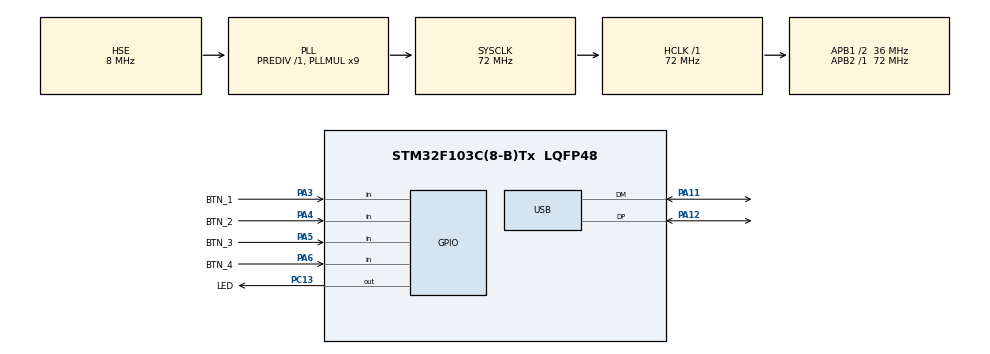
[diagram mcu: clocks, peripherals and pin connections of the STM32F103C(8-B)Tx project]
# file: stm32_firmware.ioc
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Mcu.Family=STM32F1
Mcu.Name=STM32F103C(8-B)Tx
Mcu.Package=LQFP48
NVIC.PriorityGroup=NVIC_PRIORITYGROUP_4
NVIC.USB_LP_CAN1_RX0_IRQn=true\:0\:0\:false\:false\:true\:false\:true\:true
PA11.Mode=Device
PA11.Signal=USB_DM
PA12.Mode=Device
PA12.Signal=USB_DP
PA13.Mode=Serial_Wire
PA13.Signal=SYS_JTMS-SWDIO
PA14.Mode=Serial_Wire
PA14.Signal=SYS_JTCK-SWCLK
PA3.GPIO_Label=BTN_1
PA3.Signal=GPIO_Input
PA4.GPIO_Label=BTN_2
PA4.Signal=GPIO_Input
PA5.GPIO_Label=BTN_3
PA5.Signal=GPIO_Input
PA6.GPIO_Label=BTN_4
PA6.Signal=GPIO_Input
PC13-TAMPER-RTC.GPIO_Label=LED
PC13-TAMPER-RTC.Signal=GPIO_Output
PD0-OSC_IN.Mode=HSE-External-Oscillator
PD0-OSC_IN.Signal=RCC_OSC_IN
PD1-OSC_OUT.Mode=HSE-External-Oscillator
PD1-OSC_OUT.Signal=RCC_OSC_OUT
ProjectManager.HeapSize=0x200
ProjectManager.StackSize=0x400
ProjectManager.TargetToolchain=Makefile
RCC.AHBFreq_Value=72000000
RCC.APB1CLKDivider=RCC_HCLK_DIV2
RCC.APB1Freq_Value=36000000
RCC.APB1TimFreq_Value=72000000
RCC.APB2Freq_Value=72000000
RCC.APB2TimFreq_Value=72000000
RCC.HCLKFreq_Value=72000000
RCC.PLLMUL=RCC_PLL_MUL9
RCC.PLLSourceVirtual=RCC_PLLSOURCE_HSE
RCC.SYSCLKFreq_VALUE=72000000
RCC.SYSCLKSource=RCC_SYSCLKSOURCE_PLLCLK
RCC.USBFreq_Value=48000000
RCC.USBPrescaler=RCC_USBCLKSOURCE_PLL_DIV1_5
USB_DEVICE.CLASS_NAME_FS=HID
USB_DEVICE.VirtualMode=Hid
USB_DEVICE.VirtualModeFS=Hid_FS
VP_USB_DEVICE_VS_USB_DEVICE_HID_FS.Mode=HID_FS
board=custom

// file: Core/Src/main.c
/* USER CODE BEGIN Header */
/**
 ******************************************************************************
 * @file           : main.c
 * @brief          : Main program body
 ******************************************************************************
 * @attention
 *
 * Copyright (c) 2023 STMicroelectronics.
 * All rights reserved.
 *
 * This software is licensed under terms that can be found in the LICENSE file
 * in the root directory of this software component.
 * If no LICENSE file comes with this software, it is provided AS-IS.
 *
 ******************************************************************************
 */
/* USER CODE END Header */
#include "main.h"
#include "usb_device.h"

/* USER CODE BEGIN Includes */
#include "usb_hid_keyboard.h"

/* USER CODE END Includes */

void SystemClock_Config(void);
static void MX_GPIO_Init(void);

int main(void)
{

        /* MCU Configuration--------------------------------------------------------*/

        /* Reset of all peripherals, Initializes the Flash interface and the Systick. */
        HAL_Init();

        /* Configure the system clock */
        SystemClock_Config();

        /* Initialize all configured peripherals */
        MX_GPIO_Init();
        MX_USB_DEVICE_Init();
        /* USER CODE BEGIN 2 */
        uint8_t led_on=0;
        uint8_t btn_state[4]={0};

        /* USER CODE END 2 */

        /* Infinite loop */
        while (1)
        {

                /* USER CODE BEGIN 3 */
                led_on=0;
                if(HAL_GPIO_ReadPin(BTN_1_GPIO_Port,BTN_1_Pin)==GPIO_PIN_RESET && btn_state[0]==0)
                {
                        USB_Keyboard_SendString("delete ");
                        btn_state[0]=1;
                        led_on=1;
                }
                if(HAL_GPIO_ReadPin(BTN_1_GPIO_Port,BTN_1_Pin)==GPIO_PIN_SET && btn_state[0]==1)
                        btn_state[0]=0;

                if(HAL_GPIO_ReadPin(BTN_2_GPIO_Port,BTN_2_Pin)==GPIO_PIN_RESET && btn_state[1]==0)
                {
                        USB_Keyboard_SendString("mrg ");
                        btn_state[1]=1;
                        led_on=1;
                }
                if(HAL_GPIO_ReadPin(BTN_2_GPIO_Port,BTN_2_Pin)==GPIO_PIN_SET && btn_state[1]==1)
                        btn_state[1]=0;

                if(HAL_GPIO_ReadPin(BTN_3_GPIO_Port,BTN_3_Pin)==GPIO_PIN_RESET && btn_state[2]==0)
                {
                        USB_Keyboard_SendString("in to master asap");
                        btn_state[2]=1;
                        led_on=1;
                }
                if(HAL_GPIO_ReadPin(BTN_3_GPIO_Port,BTN_3_Pin)==GPIO_PIN_SET && btn_state[2]==1)
                        btn_state[2]=0;

                if(HAL_GPIO_ReadPin(BTN_4_GPIO_Port,BTN_4_Pin)==GPIO_PIN_RESET && btn_state[3]==0)
                {
                        USB_Keyboard_SendString("plz ");
                        btn_state[3]=1;
                        led_on=1;
                }
                if(HAL_GPIO_ReadPin(BTN_4_GPIO_Port,BTN_4_Pin)==GPIO_PIN_SET && btn_state[3]==1)
                        btn_state[3]=0;

                if(led_on)
                {

                        HAL_GPIO_WritePin(LED_GPIO_Port,LED_Pin,GPIO_PIN_RESET);
                }
                else
                        HAL_GPIO_WritePin(LED_GPIO_Port,LED_Pin,GPIO_PIN_SET);
        }
        /* USER CODE END 3 */
}

void SystemClock_Config(void)
{
        RCC_OscInitTypeDef RCC_OscInitStruct = {0};
        RCC_ClkInitTypeDef RCC_ClkInitStruct = {0};
        RCC_PeriphCLKInitTypeDef PeriphClkInit = {0};

        /** Initializes the RCC Oscillators according to the specified parameters
         * in the RCC_OscInitTypeDef structure.
         */
        RCC_OscInitStruct.OscillatorType = RCC_OSCILLATORTYPE_HSE;
        RCC_OscInitStruct.HSEState = RCC_HSE_ON;
        RCC_OscInitStruct.HSEPredivValue = RCC_HSE_PREDIV_DIV1;
        RCC_OscInitStruct.HSIState = RCC_HSI_ON;
        RCC_OscInitStruct.PLL.PLLState = RCC_PLL_ON;
        RCC_OscInitStruct.PLL.PLLSource = RCC_PLLSOURCE_HSE;
        RCC_OscInitStruct.PLL.PLLMUL = RCC_PLL_MUL9;
        if (HAL_RCC_OscConfig(&RCC_OscInitStruct) != HAL_OK)
        {
                Error_Handler();
        }

        /** Initializes the CPU, AHB and APB buses clocks
        */
        RCC_ClkInitStruct.ClockType = RCC_CLOCKTYPE_HCLK|RCC_CLOCKTYPE_SYSCLK
                |RCC_CLOCKTYPE_PCLK1|RCC_CLOCKTYPE_PCLK2;
        RCC_ClkInitStruct.SYSCLKSource = RCC_SYSCLKSOURCE_PLLCLK;
        RCC_ClkInitStruct.AHBCLKDivider = RCC_SYSCLK_DIV1;
        RCC_ClkInitStruct.APB1CLKDivider = RCC_HCLK_DIV2;
        RCC_ClkInitStruct.APB2CLKDivider = RCC_HCLK_DIV1;

        if (HAL_RCC_ClockConfig(&RCC_ClkInitStruct, FLASH_LATENCY_2) != HAL_OK)
        {
                Error_Handler();
        }
        PeriphClkInit.PeriphClockSelection = RCC_PERIPHCLK_USB;
        PeriphClkInit.UsbClockSelection = RCC_USBCLKSOURCE_PLL_DIV1_5;
        if (HAL_RCCEx_PeriphCLKConfig(&PeriphClkInit) != HAL_OK)
        {
                Error_Handler();
        }
}

static void MX_GPIO_Init(void)
{
        GPIO_InitTypeDef GPIO_InitStruct = {0};

        /* GPIO Ports Clock Enable */
        __HAL_RCC_GPIOC_CLK_ENABLE();
        __HAL_RCC_GPIOD_CLK_ENABLE();
        __HAL_RCC_GPIOA_CLK_ENABLE();

        /*Configure GPIO pin Output Level */
        HAL_GPIO_WritePin(LED_GPIO_Port, LED_Pin, GPIO_PIN_RESET);

        /*Configure GPIO pin : LED_Pin */
        GPIO_InitStruct.Pin = LED_Pin;
        GPIO_InitStruct.Mode = GPIO_MODE_OUTPUT_PP;
        GPIO_InitStruct.Pull = GPIO_NOPULL;
        GPIO_InitStruct.Speed = GPIO_SPEED_FREQ_LOW;
        HAL_GPIO_Init(LED_GPIO_Port, &GPIO_InitStruct);

        /*Configure GPIO pins : BTN_1_Pin BTN_2_Pin BTN_3_Pin BTN_4_Pin */
        GPIO_InitStruct.Pin = BTN_1_Pin|BTN_2_Pin|BTN_3_Pin|BTN_4_Pin;
        GPIO_InitStruct.Mode = GPIO_MODE_INPUT;
        GPIO_InitStruct.Pull = GPIO_NOPULL;
        HAL_GPIO_Init(GPIOA, &GPIO_InitStruct);

}

void Error_Handler(void)
{
        __disable_irq();
        while (1)
        {
        }
}
